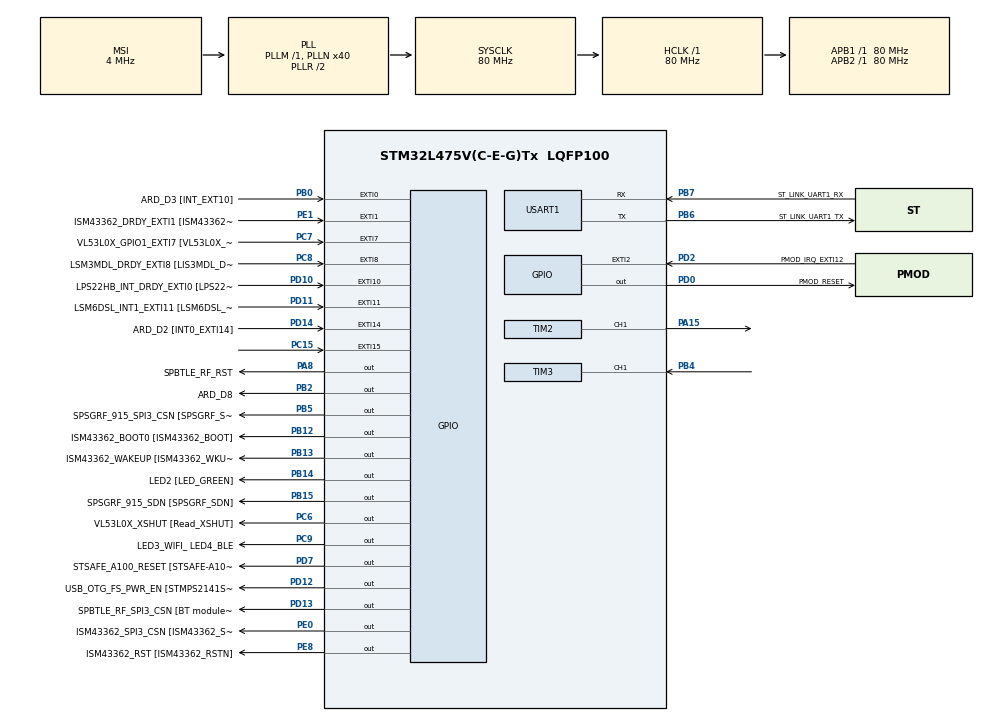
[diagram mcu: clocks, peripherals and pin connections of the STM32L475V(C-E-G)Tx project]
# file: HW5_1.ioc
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Mcu.Family=STM32L4
Mcu.Name=STM32L475V(C-E-G)Tx
Mcu.Package=LQFP100
NVIC.EXTI15_10_IRQn=true\:0\:0\:false\:false\:true\:true\:true\:true
NVIC.EXTI9_5_IRQn=true\:0\:0\:false\:false\:true\:true\:true\:true
NVIC.PriorityGroup=NVIC_PRIORITYGROUP_4
NVIC.TIM3_IRQn=true\:0\:0\:false\:false\:true\:true\:true\:true
PA10.GPIO_Label=USB_OTG_FS_ID
PA10.Signal=USB_OTG_FS_ID
PA11.GPIO_Label=USB_OTG_FS_DM
PA11.Signal=USB_OTG_FS_DM
PA12.GPIO_Label=USB_OTG_FS_DP
PA12.Signal=USB_OTG_FS_DP
PA13\ (JTMS-SWDIO).GPIO_Label=SYS_JTMS_SWDIO
PA13\ (JTMS-SWDIO).Signal=SYS_JTMS-SWDIO
PA14\ (JTCK-SWCLK).GPIO_Label=SYS_JTCK_SWCLK
PA14\ (JTCK-SWCLK).Signal=SYS_JTCK-SWCLK
PA15\ (JTDI).Signal=S_TIM2_CH1
PA3.GPIO_Label=ARD_D4
PA3.Signal=S_TIM2_CH4
PA4.GPIO_Label=ARD_D7
PA4.Signal=ADCx_IN9
PA5.GPIO_Label=ARD_D13 [SPI1_SCK]
PA5.Signal=SPI1_SCK
PA6.GPIO_Label=ARD_D12 [SPI1_MISO]
PA6.Signal=SPI1_MISO
PA7.GPIO_Label=ARD_D11 [SPI1_MOSI]
PA7.Signal=SPI1_MOSI
PA8.GPIO_Label=SPBTLE_RF_RST
PA8.Signal=GPIO_Output
PA9.GPIO_Label=USB_OTG_FS_VBUS [STMPS2141STR_OUT]
PA9.Signal=USB_OTG_FS_VBUS
PB0.GPIO_Label=ARD_D3 [INT_EXT10]
PB0.Signal=GPXTI0
PB1.GPIO_Label=ARD_D6 [ADC1_IN6]
PB1.Signal=ADCx_IN16
PB10.GPIO_Label=INTERNAL_I2C2_SCL [VL53L0X_SCL]
PB10.Signal=I2C2_SCL
PB11.GPIO_Label=INTERNAL_I2C2_SDA [VL53L0X_SDA]
PB11.Signal=I2C2_SDA
PB12.GPIO_Label=ISM43362_BOOT0 [ISM43362_BOOT]
PB12.Signal=GPIO_Output
PB13.GPIO_Label=ISM43362_WAKEUP [ISM43362_WKUP]
PB13.Signal=GPIO_Output
PB14.GPIO_Label=LED2 [LED_GREEN]
PB14.Signal=GPIO_Output
PB15.GPIO_Label=SPSGRF_915_SDN [SPSGRF_SDN]
PB15.Signal=GPIO_Output
PB2.GPIO_Label=ARD_D8
PB2.Signal=GPIO_Output
PB3\ (JTDO-TRACESWO).GPIO_Label=SYS_JTD0_SWO
PB3\ (JTDO-TRACESWO).Signal=SYS_JTDO-SWO
PB4\ (NJTRST).Signal=S_TIM3_CH1
PB5.GPIO_Label=SPSGRF_915_SPI3_CSN [SPSGRF_SPI_CS]
PB5.PinState=GPIO_PIN_SET
PB5.Signal=GPIO_Output
PB6.GPIO_Label=ST_LINK_UART1_TX
PB6.Mode=Asynchronous
PB6.Signal=USART1_TX
PB7.GPIO_Label=ST_LINK_UART1_RX
PB7.Mode=Asynchronous
PB7.Signal=USART1_RX
PB8.GPIO_Label=ARD_D15 [I2C1_SCL]
PB8.Signal=I2C1_SCL
PB9.GPIO_Label=ARD_D14 [I2C1_SDA]
PB9.Signal=I2C1_SDA
PC10.GPIO_Label=INTERNAL_SPI3_SCK [BT module_SPI_SCLK] [ISM43362_SCK]
PC10.Signal=SPI3_SCK
PC11.GPIO_Label=INTERNAL_SPI3_MISO [BT module_SPI_MISO] [ISM43362_MISO]
PC11.Signal=SPI3_MISO
PC12.GPIO_Label=INTERNAL_SPI3_MOSI [BT module_SPI_MOSI] [ISM43362_MOSI]
PC12.Signal=SPI3_MOSI
PC15-OSC32_OUT\ (PC15).Signal=GPXTI15
PC4.GPIO_Label=ARD_A1 [ADC]
PC4.Signal=ADCx_IN13
PC5.GPIO_Label=ARD_A0 [ADC]
PC5.Signal=ADCx_IN14
PC6.GPIO_Label=VL53L0X_XSHUT [Read_XSHUT]
PC6.Signal=GPIO_Output
PC7.GPIO_Label=VL53L0X_GPIO1_EXTI7 [VL53L0X_GPIO1]
PC7.Signal=GPXTI7
PC8.GPIO_Label=LSM3MDL_DRDY_EXTI8 [LIS3MDL_DRDY]
PC8.Signal=GPXTI8
PC9.GPIO_Label=LED3_WIFI_ LED4_BLE
PC9.Signal=GPIO_Output
PD0.GPIO_Label=PMOD_RESET
PD0.Signal=GPIO_Output
PD1.GPIO_Label=PMOD_SPI2_SCK
PD1.Signal=SPI2_SCK
PD10.GPIO_Label=LPS22HB_INT_DRDY_EXTI0 [LPS22HB_INT_DRDY] 
PD10.Signal=GPXTI10
PD11.GPIO_Label=LSM6DSL_INT1_EXTI11 [LSM6DSL_INT1]
PD11.Signal=GPXTI11
PD12.GPIO_Label=USB_OTG_FS_PWR_EN [STMPS2141STR_EN]
PD12.Signal=GPIO_Output
PD13.GPIO_Label=SPBTLE_RF_SPI3_CSN [BT module_SPI_CS]
PD13.PinState=GPIO_PIN_SET
PD13.Signal=GPIO_Output
PD14.GPIO_Label=ARD_D2 [INT0_EXTI14]
PD14.Signal=GPXTI14
PD2.GPIO_Label=PMOD_IRQ_EXTI12
PD2.Signal=GPXTI2
PD3.GPIO_Label=PMOD_UART2_CTS
PD3.Signal=USART2_CTS
PD4.GPIO_Label=PMOD_UART2_RTS
PD4.Signal=USART2_RTS
PD5.GPIO_Label=PMOD_UART2_TX
PD5.Signal=USART2_TX
PD6.GPIO_Label=PMOD_UART2_RX
PD6.Signal=USART2_RX
PD7.GPIO_Label=STSAFE_A100_RESET [STSAFE-A100_RESET]
PD7.Signal=GPIO_Output
PD8.GPIO_Label=INTERNAL_UART3_TX [ISM43362_RX]
PD8.Signal=USART3_TX
PD9.GPIO_Label=INTERNAL_UART3_RX [ISM43362_TX]
PD9.Signal=USART3_RX
PE0.GPIO_Label=ISM43362_SPI3_CSN [ISM43362_SSN]
PE0.PinState=GPIO_PIN_SET
PE0.Signal=GPIO_Output
PE1.GPIO_Label=ISM43362_DRDY_EXTI1 [ISM43362_DATARDY]
PE1.Signal=GPXTI1
PE10.GPIO_Label=QUADSPI_CLK [MX25R6435F_SCLK]
PE10.Signal=QUADSPI_CLK
PE11.GPIO_Label=QUADSPI_NCS [MX25R6435F_SCLK]
PE11.Signal=QUADSPI_NCS
PE12.GPIO_Label=OQUADSPI_BK1_IO0 [MX25R6435F_IO0]
PE12.Signal=QUADSPI_BK1_IO0
PE13.GPIO_Label=QUADSPI_BK1_IO1 [MX25R6435F_IO1]
PE13.Signal=QUADSPI_BK1_IO1
PE14.GPIO_Label=QUAD_SPI_BK1_IO2 [MX25R6435F_IO2]
PE14.Signal=QUADSPI_BK1_IO2
PE15.GPIO_Label=QUAD_SPI_BK1_IO3 [MX25R6435F_IO3]
PE15.Signal=QUADSPI_BK1_IO3
PE7.GPIO_Label=DFSDM1_DATIN2 [MP34DT01_DOUT]
PE7.Signal=S_DATAIN2DFSDM1
PE8.GPIO_Label=ISM43362_RST [ISM43362_RSTN]
PE8.Signal=GPIO_Output
PE9.GPIO_Label=DFSDM1_CKOUT [MP34DT01_CLK]
PE9.Signal=S_CKOUTDFSDM1
ProjectManager.HeapSize=0x200
ProjectManager.StackSize=0x400
ProjectManager.TargetToolchain=STM32CubeIDE
RCC.ADCFreq_Value=48000000
RCC.AHBFreq_Value=80000000
RCC.APB1Freq_Value=80000000
RCC.APB1TimFreq_Value=80000000
RCC.APB2Freq_Value=80000000
RCC.APB2TimFreq_Value=80000000
RCC.CortexFreq_Value=80000000
RCC.HCLKFreq_Value=80000000
RCC.HSE_VALUE=8000000
RCC.HSI_VALUE=16000000
RCC.LSE_VALUE=32768
RCC.MSI_VALUE=4000000
RCC.PLLN=40
RCC.PLLSAI1N=24
RCC.SYSCLKFreq_VALUE=80000000
RCC.SYSCLKSource=RCC_SYSCLKSOURCE_PLLCLK
RCC.USBFreq_Value=48000000
RCC.VCOOutputFreq_Value=160000000
SH.ADCx_IN13.0=ADC1_IN13
SH.ADCx_IN14.0=ADC1_IN14
SH.ADCx_IN16.0=ADC1_IN16
SH.ADCx_IN9.0=ADC1_IN9
SH.S_CKOUTDFSDM1.0=DFSDM1_CKOUT
SH.S_DATAIN2DFSDM1.0=DFSDM1_DATIN2
SH.S_TIM2_CH1.0=TIM2_CH1,PWM Generation1 CH1
SH.S_TIM2_CH4.0=TIM2_CH4
SH.S_TIM3_CH1.0=TIM3_CH1,Input_Capture1_from_TI1
TIM2.Channel-PWM\ Generation1\ CH1=TIM_CHANNEL_1
TIM2.Period=999
TIM2.Prescaler=79
TIM2.Pulse-PWM\ Generation1\ CH1=500
TIM3.Channel-Input_Capture1_from_TI1=TIM_CHANNEL_1
TIM3.Prescaler=79
USART1.VirtualMode-Asynchronous=VM_ASYNC
VP_TIM2_VS_ClockSourceINT.Mode=Internal
VP_TIM3_VS_ClockSourceINT.Mode=Internal
board=B-L475E-IOT01A1

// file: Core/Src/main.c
/* USER CODE BEGIN Header */
/**
  ******************************************************************************
  * @file           : main.c
  * @brief          : Main program body
  ******************************************************************************
  * @attention
  *
  * Copyright (c) 2025 STMicroelectronics.
  * All rights reserved.
  *
  * This software is licensed under terms that can be found in the LICENSE file
  * in the root directory of this software component.
  * If no LICENSE file comes with this software, it is provided AS-IS.
  *
  ******************************************************************************
  */
/* USER CODE END Header */
#include "main.h"

TIM_HandleTypeDef htim2;
TIM_HandleTypeDef htim3;

UART_HandleTypeDef huart1;

/* USER CODE BEGIN PV */
#include <stdio.h> // For printf

volatile uint32_t IC_Val1 = 0;
volatile uint32_t IC_Val2 = 0;
volatile uint32_t IC_Val3 = 0;
volatile uint32_t Difference = 0;
volatile uint32_t Frequency = 0;
volatile float Duty_Cycle = 0;
volatile uint8_t Is_First_Captured = 0;
/* USER CODE END PV */

void SystemClock_Config(void);
static void MX_GPIO_Init(void);
static void MX_TIM2_Init(void);
static void MX_TIM3_Init(void);
static void MX_USART1_UART_Init(void);

/* USER CODE BEGIN 0 */
#ifdef __GNUC__
#define PUTCHAR_PROTOTYPE int __io_putchar(int ch)
#else
#define PUTCHAR_PROTOTYPE int fputc(int ch, FILE *f)
#endif

PUTCHAR_PROTOTYPE
{
    HAL_UART_Transmit(&huart1, (uint8_t *)&ch, 1, HAL_MAX_DELAY);
    return ch;
}
/* USER CODE END 0 */

int main(void)
{

  /* MCU Configuration--------------------------------------------------------*/

  /* Reset of all peripherals, Initializes the Flash interface and the Systick. */
  HAL_Init();

  /* Configure the system clock */
  SystemClock_Config();

  /* Initialize all configured peripherals */
  MX_GPIO_Init();
  MX_TIM2_Init();
  MX_TIM3_Init();
  MX_USART1_UART_Init();
  /* USER CODE BEGIN 2 */
  HAL_TIM_PWM_Start(&htim2, TIM_CHANNEL_1);
  HAL_TIM_IC_Start_IT(&htim3, TIM_CHANNEL_1);
  /* USER CODE END 2 */

  /* Infinite loop */
  while (1)
  {

    /* USER CODE BEGIN 3 */
    printf("Frequency: %lu Hz\t Duty Cycle: %.2f %%\r\n", Frequency, Duty_Cycle);
    HAL_Delay(1000); // Update every second
  }
  /* USER CODE END 3 */
}

void SystemClock_Config(void)
{
  RCC_OscInitTypeDef RCC_OscInitStruct = {0};
  RCC_ClkInitTypeDef RCC_ClkInitStruct = {0};

  /** Configure the main internal regulator output voltage
  */
  if (HAL_PWREx_ControlVoltageScaling(PWR_REGULATOR_VOLTAGE_SCALE1) != HAL_OK)
  {
    Error_Handler();
  }

  /** Initializes the RCC Oscillators according to the specified parameters
  * in the RCC_OscInitTypeDef structure.
  */
  RCC_OscInitStruct.OscillatorType = RCC_OSCILLATORTYPE_MSI;
  RCC_OscInitStruct.MSIState = RCC_MSI_ON;
  RCC_OscInitStruct.MSICalibrationValue = 0;
  RCC_OscInitStruct.MSIClockRange = RCC_MSIRANGE_6;
  RCC_OscInitStruct.PLL.PLLState = RCC_PLL_ON;
  RCC_OscInitStruct.PLL.PLLSource = RCC_PLLSOURCE_MSI;
  RCC_OscInitStruct.PLL.PLLM = 1;
  RCC_OscInitStruct.PLL.PLLN = 40;
  RCC_OscInitStruct.PLL.PLLP = RCC_PLLP_DIV7;
  RCC_OscInitStruct.PLL.PLLQ = RCC_PLLQ_DIV2;
  RCC_OscInitStruct.PLL.PLLR = RCC_PLLR_DIV2;
  if (HAL_RCC_OscConfig(&RCC_OscInitStruct) != HAL_OK)
  {
    Error_Handler();
  }

  /** Initializes the CPU, AHB and APB buses clocks
  */
  RCC_ClkInitStruct.ClockType = RCC_CLOCKTYPE_HCLK|RCC_CLOCKTYPE_SYSCLK
                              |RCC_CLOCKTYPE_PCLK1|RCC_CLOCKTYPE_PCLK2;
  RCC_ClkInitStruct.SYSCLKSource = RCC_SYSCLKSOURCE_PLLCLK;
  RCC_ClkInitStruct.AHBCLKDivider = RCC_SYSCLK_DIV1;
  RCC_ClkInitStruct.APB1CLKDivider = RCC_HCLK_DIV1;
  RCC_ClkInitStruct.APB2CLKDivider = RCC_HCLK_DIV1;

  if (HAL_RCC_ClockConfig(&RCC_ClkInitStruct, FLASH_LATENCY_4) != HAL_OK)
  {
    Error_Handler();
  }
}

static void MX_TIM2_Init(void)
{

  TIM_ClockConfigTypeDef sClockSourceConfig = {0};
  TIM_MasterConfigTypeDef sMasterConfig = {0};
  TIM_OC_InitTypeDef sConfigOC = {0};

  htim2.Instance = TIM2;
  htim2.Init.Prescaler = 79;
  htim2.Init.CounterMode = TIM_COUNTERMODE_UP;
  htim2.Init.Period = 999;
  htim2.Init.ClockDivision = TIM_CLOCKDIVISION_DIV1;
  htim2.Init.AutoReloadPreload = TIM_AUTORELOAD_PRELOAD_DISABLE;
  if (HAL_TIM_Base_Init(&htim2) != HAL_OK)
  {
    Error_Handler();
  }
  sClockSourceConfig.ClockSource = TIM_CLOCKSOURCE_INTERNAL;
  if (HAL_TIM_ConfigClockSource(&htim2, &sClockSourceConfig) != HAL_OK)
  {
    Error_Handler();
  }
  if (HAL_TIM_PWM_Init(&htim2) != HAL_OK)
  {
    Error_Handler();
  }
  sMasterConfig.MasterOutputTrigger = TIM_TRGO_RESET;
  sMasterConfig.MasterSlaveMode = TIM_MASTERSLAVEMODE_DISABLE;
  if (HAL_TIMEx_MasterConfigSynchronization(&htim2, &sMasterConfig) != HAL_OK)
  {
    Error_Handler();
  }
  sConfigOC.OCMode = TIM_OCMODE_PWM1;
  sConfigOC.Pulse = 500;
  sConfigOC.OCPolarity = TIM_OCPOLARITY_HIGH;
  sConfigOC.OCFastMode = TIM_OCFAST_DISABLE;
  if (HAL_TIM_PWM_ConfigChannel(&htim2, &sConfigOC, TIM_CHANNEL_1) != HAL_OK)
  {
    Error_Handler();
  }
  HAL_TIM_MspPostInit(&htim2);

}

static void MX_TIM3_Init(void)
{

  TIM_ClockConfigTypeDef sClockSourceConfig = {0};
  TIM_MasterConfigTypeDef sMasterConfig = {0};
  TIM_IC_InitTypeDef sConfigIC = {0};

  htim3.Instance = TIM3;
  htim3.Init.Prescaler = 79;
  htim3.Init.CounterMode = TIM_COUNTERMODE_UP;
  htim3.Init.Period = 65535;
  htim3.Init.ClockDivision = TIM_CLOCKDIVISION_DIV1;
  htim3.Init.AutoReloadPreload = TIM_AUTORELOAD_PRELOAD_DISABLE;
  if (HAL_TIM_Base_Init(&htim3) != HAL_OK)
  {
    Error_Handler();
  }
  sClockSourceConfig.ClockSource = TIM_CLOCKSOURCE_INTERNAL;
  if (HAL_TIM_ConfigClockSource(&htim3, &sClockSourceConfig) != HAL_OK)
  {
    Error_Handler();
  }
  if (HAL_TIM_IC_Init(&htim3) != HAL_OK)
  {
    Error_Handler();
  }
  sMasterConfig.MasterOutputTrigger = TIM_TRGO_RESET;
  sMasterConfig.MasterSlaveMode = TIM_MASTERSLAVEMODE_DISABLE;
  if (HAL_TIMEx_MasterConfigSynchronization(&htim3, &sMasterConfig) != HAL_OK)
  {
    Error_Handler();
  }
  sConfigIC.ICPolarity = TIM_INPUTCHANNELPOLARITY_RISING;
  sConfigIC.ICSelection = TIM_ICSELECTION_DIRECTTI;
  sConfigIC.ICPrescaler = TIM_ICPSC_DIV1;
  sConfigIC.ICFilter = 0;
  if (HAL_TIM_IC_ConfigChannel(&htim3, &sConfigIC, TIM_CHANNEL_1) != HAL_OK)
  {
    Error_Handler();
  }

}

static void MX_USART1_UART_Init(void)
{

  huart1.Instance = USART1;
  huart1.Init.BaudRate = 115200;
  huart1.Init.WordLength = UART_WORDLENGTH_8B;
  huart1.Init.StopBits = UART_STOPBITS_1;
  huart1.Init.Parity = UART_PARITY_NONE;
  huart1.Init.Mode = UART_MODE_TX_RX;
  huart1.Init.HwFlowCtl = UART_HWCONTROL_NONE;
  huart1.Init.OverSampling = UART_OVERSAMPLING_16;
  huart1.Init.OneBitSampling = UART_ONE_BIT_SAMPLE_DISABLE;
  huart1.AdvancedInit.AdvFeatureInit = UART_ADVFEATURE_NO_INIT;
  if (HAL_UART_Init(&huart1) != HAL_OK)
  {
    Error_Handler();
  }

}

static void MX_GPIO_Init(void)
{
  GPIO_InitTypeDef GPIO_InitStruct = {0};

  /* GPIO Ports Clock Enable */
  __HAL_RCC_GPIOC_CLK_ENABLE();
  __HAL_RCC_GPIOA_CLK_ENABLE();
  __HAL_RCC_GPIOB_CLK_ENABLE();
  __HAL_RCC_GPIOE_CLK_ENABLE();
  __HAL_RCC_GPIOD_CLK_ENABLE();

  /*Configure GPIO pin Output Level */
  HAL_GPIO_WritePin(GPIOB, ARD_D8_Pin|ISM43362_BOOT0_Pin|ISM43362_WAKEUP_Pin|LED2_Pin
                          |SPSGRF_915_SDN_Pin, GPIO_PIN_RESET);

  /*Configure GPIO pin Output Level */
  HAL_GPIO_WritePin(ISM43362_RST_GPIO_Port, ISM43362_RST_Pin, GPIO_PIN_RESET);

  /*Configure GPIO pin Output Level */
  HAL_GPIO_WritePin(GPIOD, USB_OTG_FS_PWR_EN_Pin|PMOD_RESET_Pin|STSAFE_A100_RESET_Pin, GPIO_PIN_RESET);

  /*Configure GPIO pin Output Level */
  HAL_GPIO_WritePin(SPBTLE_RF_SPI3_CSN_GPIO_Port, SPBTLE_RF_SPI3_CSN_Pin, GPIO_PIN_SET);

  /*Configure GPIO pin Output Level */
  HAL_GPIO_WritePin(GPIOC, VL53L0X_XSHUT_Pin|LED3_WIFI__LED4_BLE_Pin, GPIO_PIN_RESET);

  /*Configure GPIO pin Output Level */
  HAL_GPIO_WritePin(SPBTLE_RF_RST_GPIO_Port, SPBTLE_RF_RST_Pin, GPIO_PIN_RESET);

  /*Configure GPIO pin Output Level */
  HAL_GPIO_WritePin(SPSGRF_915_SPI3_CSN_GPIO_Port, SPSGRF_915_SPI3_CSN_Pin, GPIO_PIN_SET);

  /*Configure GPIO pin Output Level */
  HAL_GPIO_WritePin(ISM43362_SPI3_CSN_GPIO_Port, ISM43362_SPI3_CSN_Pin, GPIO_PIN_SET);

  /*Configure GPIO pins : PC15 VL53L0X_GPIO1_EXTI7_Pin LSM3MDL_DRDY_EXTI8_Pin */
  GPIO_InitStruct.Pin = GPIO_PIN_15|VL53L0X_GPIO1_EXTI7_Pin|LSM3MDL_DRDY_EXTI8_Pin;
  GPIO_InitStruct.Mode = GPIO_MODE_IT_RISING;
  GPIO_InitStruct.Pull = GPIO_NOPULL;
  HAL_GPIO_Init(GPIOC, &GPIO_InitStruct);

  /*Configure GPIO pin : ARD_D7_Pin */
  GPIO_InitStruct.Pin = ARD_D7_Pin;
  GPIO_InitStruct.Mode = GPIO_MODE_ANALOG_ADC_CONTROL;
  GPIO_InitStruct.Pull = GPIO_NOPULL;
  HAL_GPIO_Init(ARD_D7_GPIO_Port, &GPIO_InitStruct);

  /*Configure GPIO pins : ARD_D13_Pin ARD_D12_Pin ARD_D11_Pin */
  GPIO_InitStruct.Pin = ARD_D13_Pin|ARD_D12_Pin|ARD_D11_Pin;
  GPIO_InitStruct.Mode = GPIO_MODE_AF_PP;
  GPIO_InitStruct.Pull = GPIO_NOPULL;
  GPIO_InitStruct.Speed = GPIO_SPEED_FREQ_VERY_HIGH;
  GPIO_InitStruct.Alternate = GPIO_AF5_SPI1;
  HAL_GPIO_Init(GPIOA, &GPIO_InitStruct);

  /*Configure GPIO pins : ARD_A1_Pin ARD_A0_Pin */
  GPIO_InitStruct.Pin = ARD_A1_Pin|ARD_A0_Pin;
  GPIO_InitStruct.Mode = GPIO_MODE_ANALOG_ADC_CONTROL;
  GPIO_InitStruct.Pull = GPIO_NOPULL;
  HAL_GPIO_Init(GPIOC, &GPIO_InitStruct);

  /*Configure GPIO pin : ARD_D3_Pin */
  GPIO_InitStruct.Pin = ARD_D3_Pin;
  GPIO_InitStruct.Mode = GPIO_MODE_IT_RISING;
  GPIO_InitStruct.Pull = GPIO_NOPULL;
  HAL_GPIO_Init(ARD_D3_GPIO_Port, &GPIO_InitStruct);

  /*Configure GPIO pin : ARD_D6_Pin */
  GPIO_InitStruct.Pin = ARD_D6_Pin;
  GPIO_InitStruct.Mode = GPIO_MODE_ANALOG_ADC_CONTROL;
  GPIO_InitStruct.Pull = GPIO_NOPULL;
  HAL_GPIO_Init(ARD_D6_GPIO_Port, &GPIO_InitStruct);

  /*Configure GPIO pins : ARD_D8_Pin ISM43362_BOOT0_Pin ISM43362_WAKEUP_Pin LED2_Pin
                           SPSGRF_915_SDN_Pin SPSGRF_915_SPI3_CSN_Pin */
  GPIO_InitStruct.Pin = ARD_D8_Pin|ISM43362_BOOT0_Pin|ISM43362_WAKEUP_Pin|LED2_Pin
                          |SPSGRF_915_SDN_Pin|SPSGRF_915_SPI3_CSN_Pin;
  GPIO_InitStruct.Mode = GPIO_MODE_OUTPUT_PP;
  GPIO_InitStruct.Pull = GPIO_NOPULL;
  GPIO_InitStruct.Speed = GPIO_SPEED_FREQ_LOW;
  HAL_GPIO_Init(GPIOB, &GPIO_InitStruct);

  /*Configure GPIO pins : DFSDM1_DATIN2_Pin DFSDM1_CKOUT_Pin */
  GPIO_InitStruct.Pin = DFSDM1_DATIN2_Pin|DFSDM1_CKOUT_Pin;
  GPIO_InitStruct.Mode = GPIO_MODE_AF_PP;
  GPIO_InitStruct.Pull = GPIO_NOPULL;
  GPIO_InitStruct.Speed = GPIO_SPEED_FREQ_LOW;
  GPIO_InitStruct.Alternate = GPIO_AF6_DFSDM1;
  HAL_GPIO_Init(GPIOE, &GPIO_InitStruct);

  /*Configure GPIO pins : ISM43362_RST_Pin ISM43362_SPI3_CSN_Pin */
  GPIO_InitStruct.Pin = ISM43362_RST_Pin|ISM43362_SPI3_CSN_Pin;
  GPIO_InitStruct.Mode = GPIO_MODE_OUTPUT_PP;
  GPIO_InitStruct.Pull = GPIO_NOPULL;
  GPIO_InitStruct.Speed = GPIO_SPEED_FREQ_LOW;
  HAL_GPIO_Init(GPIOE, &GPIO_InitStruct);

  /*Configure GPIO pins : QUADSPI_CLK_Pin QUADSPI_NCS_Pin OQUADSPI_BK1_IO0_Pin QUADSPI_BK1_IO1_Pin
                           QUAD_SPI_BK1_IO2_Pin QUAD_SPI_BK1_IO3_Pin */
  GPIO_InitStruct.Pin = QUADSPI_CLK_Pin|QUADSPI_NCS_Pin|OQUADSPI_BK1_IO0_Pin|QUADSPI_BK1_IO1_Pin
                          |QUAD_SPI_BK1_IO2_Pin|QUAD_SPI_BK1_IO3_Pin;
  GPIO_InitStruct.Mode = GPIO_MODE_AF_PP;
  GPIO_InitStruct.Pull = GPIO_NOPULL;
  GPIO_InitStruct.Speed = GPIO_SPEED_FREQ_VERY_HIGH;
  GPIO_InitStruct.Alternate = GPIO_AF10_QUADSPI;
  HAL_GPIO_Init(GPIOE, &GPIO_InitStruct);

  /*Configure GPIO pins : INTERNAL_I2C2_SCL_Pin INTERNAL_I2C2_SDA_Pin */
  GPIO_InitStruct.Pin = INTERNAL_I2C2_SCL_Pin|INTERNAL_I2C2_SDA_Pin;
  GPIO_InitStruct.Mode = GPIO_MODE_AF_OD;
  GPIO_InitStruct.Pull = GPIO_NOPULL;
  GPIO_InitStruct.Speed = GPIO_SPEED_FREQ_VERY_HIGH;
  GPIO_InitStruct.Alternate = GPIO_AF4_I2C2;
  HAL_GPIO_Init(GPIOB, &GPIO_InitStruct);

  /*Configure GPIO pins : INTERNAL_UART3_TX_Pin INTERNAL_UART3_RX_Pin */
  GPIO_InitStruct.Pin = INTERNAL_UART3_TX_Pin|INTERNAL_UART3_RX_Pin;
  GPIO_InitStruct.Mode = GPIO_MODE_AF_PP;
  GPIO_InitStruct.Pull = GPIO_NOPULL;
  GPIO_InitStruct.Speed = GPIO_SPEED_FREQ_VERY_HIGH;
  GPIO_InitStruct.Alternate = GPIO_AF7_USART3;
  HAL_GPIO_Init(GPIOD, &GPIO_InitStruct);

  /*Configure GPIO pins : LPS22HB_INT_DRDY_EXTI0_Pin LSM6DSL_INT1_EXTI11_Pin ARD_D2_Pin PMOD_IRQ_EXTI12_Pin */
  GPIO_InitStruct.Pin = LPS22HB_INT_DRDY_EXTI0_Pin|LSM6DSL_INT1_EXTI11_Pin|ARD_D2_Pin|PMOD_IRQ_EXTI12_Pin;
  GPIO_InitStruct.Mode = GPIO_MODE_IT_RISING;
  GPIO_InitStruct.Pull = GPIO_NOPULL;
  HAL_GPIO_Init(GPIOD, &GPIO_InitStruct);

  /*Configure GPIO pins : USB_OTG_FS_PWR_EN_Pin SPBTLE_RF_SPI3_CSN_Pin PMOD_RESET_Pin STSAFE_A100_RESET_Pin */
  GPIO_InitStruct.Pin = USB_OTG_FS_PWR_EN_Pin|SPBTLE_RF_SPI3_CSN_Pin|PMOD_RESET_Pin|STSAFE_A100_RESET_Pin;
  GPIO_InitStruct.Mode = GPIO_MODE_OUTPUT_PP;
  GPIO_InitStruct.Pull = GPIO_NOPULL;
  GPIO_InitStruct.Speed = GPIO_SPEED_FREQ_LOW;
  HAL_GPIO_Init(GPIOD, &GPIO_InitStruct);

  /*Configure GPIO pins : VL53L0X_XSHUT_Pin LED3_WIFI__LED4_BLE_Pin */
  GPIO_InitStruct.Pin = VL53L0X_XSHUT_Pin|LED3_WIFI__LED4_BLE_Pin;
  GPIO_InitStruct.Mode = GPIO_MODE_OUTPUT_PP;
  GPIO_InitStruct.Pull = GPIO_NOPULL;
  GPIO_InitStruct.Speed = GPIO_SPEED_FREQ_LOW;
  HAL_GPIO_Init(GPIOC, &GPIO_InitStruct);

  /*Configure GPIO pin : SPBTLE_RF_RST_Pin */
  GPIO_InitStruct.Pin = SPBTLE_RF_RST_Pin;
  GPIO_InitStruct.Mode = GPIO_MODE_OUTPUT_PP;
  GPIO_InitStruct.Pull = GPIO_NOPULL;
  GPIO_InitStruct.Speed = GPIO_SPEED_FREQ_LOW;
  HAL_GPIO_Init(SPBTLE_RF_RST_GPIO_Port, &GPIO_InitStruct);

  /*Configure GPIO pin : USB_OTG_FS_VBUS_Pin */
  GPIO_InitStruct.Pin = USB_OTG_FS_VBUS_Pin;
  GPIO_InitStruct.Mode = GPIO_MODE_INPUT;
  GPIO_InitStruct.Pull = GPIO_NOPULL;
  HAL_GPIO_Init(USB_OTG_FS_VBUS_GPIO_Port, &GPIO_InitStruct);

  /*Configure GPIO pins : USB_OTG_FS_ID_Pin USB_OTG_FS_DM_Pin USB_OTG_FS_DP_Pin */
  GPIO_InitStruct.Pin = USB_OTG_FS_ID_Pin|USB_OTG_FS_DM_Pin|USB_OTG_FS_DP_Pin;
  GPIO_InitStruct.Mode = GPIO_MODE_AF_PP;
  GPIO_InitStruct.Pull = GPIO_NOPULL;
  GPIO_InitStruct.Speed = GPIO_SPEED_FREQ_VERY_HIGH;
  GPIO_InitStruct.Alternate = GPIO_AF10_OTG_FS;
  HAL_GPIO_Init(GPIOA, &GPIO_InitStruct);

  /*Configure GPIO pins : INTERNAL_SPI3_SCK_Pin INTERNAL_SPI3_MISO_Pin INTERNAL_SPI3_MOSI_Pin */
  GPIO_InitStruct.Pin = INTERNAL_SPI3_SCK_Pin|INTERNAL_SPI3_MISO_Pin|INTERNAL_SPI3_MOSI_Pin;
  GPIO_InitStruct.Mode = GPIO_MODE_AF_PP;
  GPIO_InitStruct.Pull = GPIO_NOPULL;
  GPIO_InitStruct.Speed = GPIO_SPEED_FREQ_VERY_HIGH;
  GPIO_InitStruct.Alternate = GPIO_AF6_SPI3;
  HAL_GPIO_Init(GPIOC, &GPIO_InitStruct);

  /*Configure GPIO pin : PMOD_SPI2_SCK_Pin */
  GPIO_InitStruct.Pin = PMOD_SPI2_SCK_Pin;
  GPIO_InitStruct.Mode = GPIO_MODE_AF_PP;
  GPIO_InitStruct.Pull = GPIO_NOPULL;
  GPIO_InitStruct.Speed = GPIO_SPEED_FREQ_VERY_HIGH;
  GPIO_InitStruct.Alternate = GPIO_AF5_SPI2;
  HAL_GPIO_Init(PMOD_SPI2_SCK_GPIO_Port, &GPIO_InitStruct);

  /*Configure GPIO pins : PMOD_UART2_CTS_Pin PMOD_UART2_RTS_Pin PMOD_UART2_TX_Pin PMOD_UART2_RX_Pin */
  GPIO_InitStruct.Pin = PMOD_UART2_CTS_Pin|PMOD_UART2_RTS_Pin|PMOD_UART2_TX_Pin|PMOD_UART2_RX_Pin;
  GPIO_InitStruct.Mode = GPIO_MODE_AF_PP;
  GPIO_InitStruct.Pull = GPIO_NOPULL;
  GPIO_InitStruct.Speed = GPIO_SPEED_FREQ_VERY_HIGH;
  GPIO_InitStruct.Alternate = GPIO_AF7_USART2;
  HAL_GPIO_Init(GPIOD, &GPIO_InitStruct);

  /*Configure GPIO pins : ARD_D15_Pin ARD_D14_Pin */
  GPIO_InitStruct.Pin = ARD_D15_Pin|ARD_D14_Pin;
  GPIO_InitStruct.Mode = GPIO_MODE_AF_OD;
  GPIO_InitStruct.Pull = GPIO_NOPULL;
  GPIO_InitStruct.Speed = GPIO_SPEED_FREQ_VERY_HIGH;
  GPIO_InitStruct.Alternate = GPIO_AF4_I2C1;
  HAL_GPIO_Init(GPIOB, &GPIO_InitStruct);

  /*Configure GPIO pin : ISM43362_DRDY_EXTI1_Pin */
  GPIO_InitStruct.Pin = ISM43362_DRDY_EXTI1_Pin;
  GPIO_InitStruct.Mode = GPIO_MODE_IT_RISING;
  GPIO_InitStruct.Pull = GPIO_NOPULL;
  HAL_GPIO_Init(ISM43362_DRDY_EXTI1_GPIO_Port, &GPIO_InitStruct);

  /* EXTI interrupt init*/
  HAL_NVIC_SetPriority(EXTI9_5_IRQn, 0, 0);
  HAL_NVIC_EnableIRQ(EXTI9_5_IRQn);

  HAL_NVIC_SetPriority(EXTI15_10_IRQn, 0, 0);
  HAL_NVIC_EnableIRQ(EXTI15_10_IRQn);

}

/* USER CODE BEGIN 4 */

// Note: I've added one more variable, IC_Val3, to your global variables list.
// Add this line in the /* USER CODE BEGIN PV */ section at the top of your file:
// volatile uint32_t IC_Val3 = 0;

void HAL_TIM_IC_CaptureCallback(TIM_HandleTypeDef *htim)
{
  if (htim->Channel == HAL_TIM_ACTIVE_CHANNEL_1)
  {
    if (Is_First_Captured == 0) // First rising edge
    {
      IC_Val1 = HAL_TIM_ReadCapturedValue(htim, TIM_CHANNEL_1);
      Is_First_Captured = 1;
      __HAL_TIM_SET_CAPTUREPOLARITY(htim, TIM_CHANNEL_1, TIM_INPUTCHANNELPOLARITY_FALLING);
    }
    else if (Is_First_Captured == 1) // Falling edge
    {
      IC_Val2 = HAL_TIM_ReadCapturedValue(htim, TIM_CHANNEL_1);
      Is_First_Captured = 2;
      __HAL_TIM_SET_CAPTUREPOLARITY(htim, TIM_CHANNEL_1, TIM_INPUTCHANNELPOLARITY_RISING);
    }
    else if (Is_First_Captured == 2) // Second rising edge
    {
      IC_Val3 = HAL_TIM_ReadCapturedValue(htim, TIM_CHANNEL_1);

      // --- Perform all calculations now that we have 3 timestamps ---
      if (IC_Val3 > IC_Val1)
      {
        uint32_t high_time = IC_Val2 - IC_Val1;
        Difference = IC_Val3 - IC_Val1; // This is the period

        Duty_Cycle = ((float)high_time / (float)Difference) * 100.0f;

        // Timer's clock frequency = SystemCoreClock / (Prescaler + 1)
        uint32_t timer_clock = HAL_RCC_GetPCLK1Freq() / (htim3.Init.Prescaler + 1);
        Frequency = timer_clock / Difference;
      }

      // --- Reset for the next measurement ---
      Is_First_Captured = 0;
      // You can leave the polarity as RISING, as the state machine will handle it.
      // Or reset it explicitly for safety:
      __HAL_TIM_SET_CAPTUREPOLARITY(htim, TIM_CHANNEL_1, TIM_INPUTCHANNELPOLARITY_RISING);
    }
  }
}
/* USER CODE END 4 */

void Error_Handler(void)
{
  __disable_irq();
  while (1)
  {
  }
}
